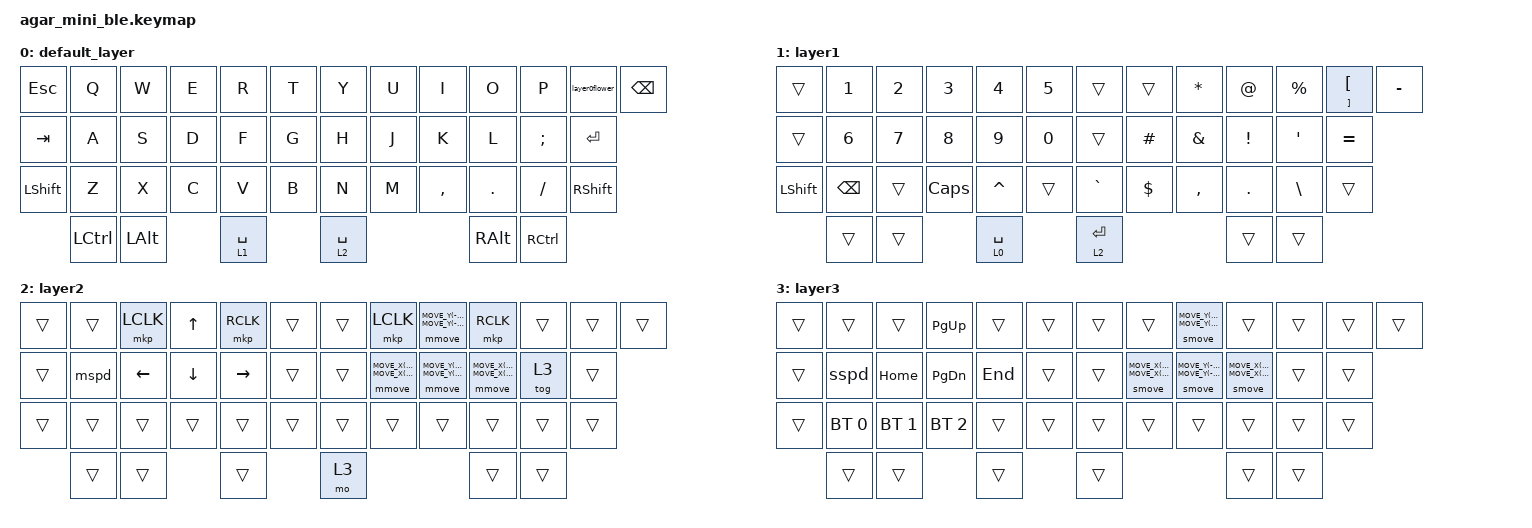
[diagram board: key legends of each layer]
/*
 * Copyright (c) 2021 The ZMK Contributors
 *
 * SPDX-License-Identifier: MIT
 */

#include "./boards/shields/klink_kbd/common.keymap"
#include <behaviors.dtsi>
#include <dt-bindings/zmk/bt.h>
#include <dt-bindings/zmk/keys.h>
#include <dt-bindings/zmk/pointing.h>

/ {
    combos {
        compatible = "zmk,combos";

        bootloader {
            bindings = <&bootloader>;
            key-positions = <0 37 42>;
            timeout-ms = <500>;
        };

        tolayer0 {
            bindings = <&to 0>;
            key-positions = <39 40>;
            timeout-ms = <500>;
        };

        tolayer1 {
            bindings = <&to 1>;
            key-positions = <39 13>;
            timeout-ms = <500>;
        };

        tolayer2 {
            bindings = <&to 2>;
            key-positions = <40 24>;
            timeout-ms = <500>;
        };
    };

    behaviors {
        layer0flower: layer0flower {
            compatible = "zmk,behavior-mod-morph";
            label = "LAYER0FLOWER";
            bindings =
                <&mt RIGHT_PARENTHESIS LEFT_PARENTHESIS>,
                <&kp LEFT_BRACE>;

            #binding-cells = <0>;
            mods = <(MOD_LSFT)>;
        };

        mmove: mouse_axis_move {
            compatible = "zmk,behavior-axis-move";
            #binding-cells = <2>;
            x-input-code = <INPUT_REL_X>;
            y-input-code = <INPUT_REL_Y>;
            time-to-max-speed-ms = <0>;
            acceleration-exponent = <0>;
        };

        mspd: mouse_speed_switch {
            compatible = "zmk,behavior-speed-switch";
            #binding-cells = <0>;
            target = <&mmove>;
        };

        smove: scroll_axis_move {
            compatible = "zmk,behavior-axis-move";
            #binding-cells = <2>;
            x-input-code = <INPUT_REL_HWHEEL>;
            y-input-code = <INPUT_REL_WHEEL>;
            time-to-max-speed-ms = <0>;
            acceleration-exponent = <0>;
        };

        sspd: scroll_speed_switch {
            compatible = "zmk,behavior-speed-switch";
            #binding-cells = <0>;
            target = <&smove>;
        };
    };

    mmove_input_listener: mmove_input_listener {
        compatible = "zmk,input-listener";
        device = <&mmove>;
    };

    smove_input_listener: smove_input_listener {
        compatible = "zmk,input-listener";
        device = <&smove>;
    };

    keymap {
        compatible = "zmk,keymap";

        default_layer {
            bindings = <
&kp ESC         &kp Q             &kp W         &kp E  &kp R        &kp T  &kp Y        &kp U  &kp I      &kp O          &kp P              &layer0flower    &kp BACKSPACE
&kp TAB         &kp A             &kp S         &kp D  &kp F        &kp G  &kp H        &kp J  &kp K      &kp L          &kp SEMICOLON      &kp ENTER
&kp LEFT_SHIFT  &kp Z             &kp X         &kp C  &kp V        &kp B  &kp N        &kp M  &kp COMMA  &kp DOT        &kp SLASH          &kp RIGHT_SHIFT
                &kp LEFT_CONTROL  &kp LEFT_ALT         &lt 1 SPACE         &lt 2 SPACE                    &kp RIGHT_ALT  &kp RIGHT_CONTROL
            >;
        };

        layer1 {
            bindings = <
&trans          &kp NUMBER_1   &kp NUMBER_2  &kp NUMBER_3  &kp NUMBER_4  &kp NUMBER_5  &trans       &trans      &kp STAR   &kp AT    &kp PERCENT       &mt RIGHT_BRACKET LEFT_BRACKET  &kp MINUS
&trans          &kp NUMBER_6   &kp NUMBER_7  &kp NUMBER_8  &kp NUMBER_9  &kp NUMBER_0  &trans       &kp HASH    &kp AMPS   &kp EXCL  &kp SINGLE_QUOTE  &kp EQUAL
&kp LEFT_SHIFT  &kp BACKSPACE  &trans        &kp CAPSLOCK  &kp CARET     &trans        &kp GRAVE    &kp DOLLAR  &kp COMMA  &kp DOT   &kp BACKSLASH     &trans
                &trans         &trans                      &lt 0 SPACE                 &lt 2 ENTER                         &trans    &trans
            >;
        };

        layer2 {
            bindings = <
&trans  &trans  &mkp LCLK  &kp UP    &mkp RCLK  &trans  &trans  &mkp LCLK                          &mmove MOVE_Y(-800) MOVE_Y(-300)  &mkp RCLK                        &trans  &trans  &trans
&trans  &mspd   &kp LEFT   &kp DOWN  &kp RIGHT  &trans  &trans  &mmove MOVE_X(-1000) MOVE_X(-400)  &mmove MOVE_Y(800) MOVE_Y(300)    &mmove MOVE_X(1000) MOVE_X(400)  &tog 3  &trans
&trans  &trans  &trans     &trans    &trans     &trans  &trans  &trans                             &trans                            &trans                           &trans  &trans
        &trans  &trans               &trans             &mo 3                                                                        &trans                           &trans
            >;
        };

        layer3 {
            bindings = <
&trans  &trans        &trans        &kp PAGE_UP    &trans   &trans  &trans  &trans                          &smove MOVE_Y(60) MOVE_Y(10)    &trans                        &trans  &trans  &trans
&trans  &sspd         &kp HOME      &kp PAGE_DOWN  &kp END  &trans  &trans  &smove MOVE_X(-60) MOVE_X(-10)  &smove MOVE_Y(-60) MOVE_Y(-10)  &smove MOVE_X(60) MOVE_X(10)  &trans  &trans
&trans  &bt BT_SEL 0  &bt BT_SEL 1  &bt BT_SEL 2   &trans   &trans  &trans  &trans                          &trans                          &trans                        &trans  &trans
        &trans        &trans                       &trans           &trans                                                                  &trans                        &trans
            >;
        };
    };
};
